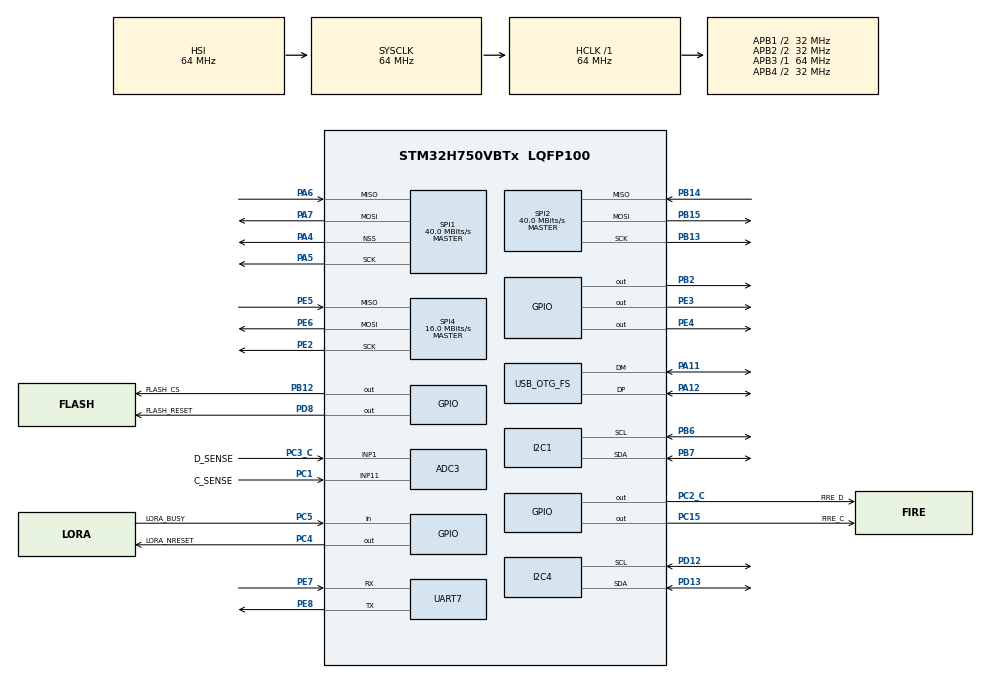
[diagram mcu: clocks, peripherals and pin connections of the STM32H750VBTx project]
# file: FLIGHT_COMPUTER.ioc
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ADC3.Channel-0\#ChannelRegularConversion=ADC_CHANNEL_1
ADC3.NbrOfConversionFlag=1
ADC3.OffsetNumber-0\#ChannelRegularConversion=ADC_OFFSET_NONE
ADC3.OffsetSignedSaturation-0\#ChannelRegularConversion=DISABLE
ADC3.Rank-0\#ChannelRegularConversion=1
ADC3.SamplingTime-0\#ChannelRegularConversion=ADC_SAMPLETIME_1CYCLE_5
CORTEX_M7.default_mode_Activation=1
I2C1.Timing=0x00707CBB
I2C4.Timing=0x00707CBB
Mcu.Family=STM32H7
Mcu.Name=STM32H750VBTx
Mcu.Package=LQFP100
NVIC.OTG_FS_IRQn=true\:0\:0\:false\:false\:true\:false\:true\:true
NVIC.PriorityGroup=NVIC_PRIORITYGROUP_4
PA11.Mode=Device_Only
PA11.Signal=USB_OTG_FS_DM
PA12.Mode=Device_Only
PA12.Signal=USB_OTG_FS_DP
PA13\ (JTMS/SWDIO).Mode=Trace_Asynchronous_SW
PA13\ (JTMS/SWDIO).Signal=DEBUG_JTMS-SWDIO
PA14\ (JTCK/SWCLK).Mode=Trace_Asynchronous_SW
PA14\ (JTCK/SWCLK).Signal=DEBUG_JTCK-SWCLK
PA4.Mode=NSS_Signal_Hard_Output
PA4.Signal=SPI1_NSS
PA5.Mode=Full_Duplex_Master
PA5.Signal=SPI1_SCK
PA6.Mode=Full_Duplex_Master
PA6.Signal=SPI1_MISO
PA7.Mode=Full_Duplex_Master
PA7.Signal=SPI1_MOSI
PB12.GPIO_Label=FLASH_CS
PB12.Signal=GPIO_Output
PB13.Mode=Full_Duplex_Master
PB13.Signal=SPI2_SCK
PB14.Mode=Full_Duplex_Master
PB14.Signal=SPI2_MISO
PB15.Mode=Full_Duplex_Master
PB15.Signal=SPI2_MOSI
PB2.Signal=GPIO_Output
PB3\ (JTDO/TRACESWO).Mode=Trace_Asynchronous_SW
PB3\ (JTDO/TRACESWO).Signal=DEBUG_JTDO-SWO
PB6.Mode=I2C
PB6.Signal=I2C1_SCL
PB7.Mode=I2C
PB7.Signal=I2C1_SDA
PC1.GPIO_Label=C_SENSE
PC1.Signal=ADCx_INP11
PC15-OSC32_OUT\ (OSC32_OUT).GPIO_Label=FIRE_C
PC15-OSC32_OUT\ (OSC32_OUT).Signal=GPIO_Output
PC2_C.GPIO_Label=FIRE_D
PC2_C.Signal=GPIO_Output
PC3_C.GPIO_Label=D_SENSE
PC3_C.Mode=IN1-Single-Ended
PC3_C.Signal=ADC3_INP1
PC4.GPIO_Label=LORA_NRESET
PC4.Signal=GPIO_Output
PC5.GPIO_Label=LORA_BUSY
PC5.Signal=GPIO_Input
PD12.Mode=I2C
PD12.Signal=I2C4_SCL
PD13.Mode=I2C
PD13.Signal=I2C4_SDA
PD8.GPIO_Label=FLASH_RESET
PD8.PinState=GPIO_PIN_SET
PD8.Signal=GPIO_Output
PE2.Mode=Full_Duplex_Master
PE2.Signal=SPI4_SCK
PE3.Signal=GPIO_Output
PE4.Signal=GPIO_Output
PE5.Mode=Full_Duplex_Master
PE5.Signal=SPI4_MISO
PE6.Mode=Full_Duplex_Master
PE6.Signal=SPI4_MOSI
PE7.Mode=Asynchronous
PE7.Signal=UART7_RX
PE8.Mode=Asynchronous
PE8.Signal=UART7_TX
ProjectManager.HeapSize=0x200
ProjectManager.StackSize=0x400
ProjectManager.TargetToolchain=STM32CubeIDE
RCC.ADCFreq_Value=80000000
RCC.APB1Freq_Value=32000000
RCC.APB2Freq_Value=32000000
RCC.APB3Freq_Value=64000000
RCC.APB4Freq_Value=32000000
RCC.CortexFreq_Value=64000000
RCC.D2PPRE1=RCC_APB1_DIV2
RCC.D2PPRE2=RCC_APB2_DIV2
RCC.D3PPRE=RCC_APB4_DIV2
RCC.DIVM1=4
RCC.DIVM2=4
RCC.DIVN1=10
RCC.DIVN2=10
RCC.HCLKFreq_Value=64000000
RCC.PLL2FRACN=0
RCC.PLLFRACN=0
RCC.SYSCLKFreq_VALUE=64000000
RCC.USBCLockSelection=RCC_USBCLKSOURCE_HSI48
RCC.USBFreq_Value=48000000
SH.ADCx_INP11.0=ADC3_INP11,IN11-Single-Ended
SPI1.CalculateBaudRate=40.0 MBits/s
SPI1.Direction=SPI_DIRECTION_2LINES
SPI1.Mode=SPI_MODE_MASTER
SPI1.VirtualNSS=VM_NSSHARD
SPI1.VirtualType=VM_MASTER
SPI2.CalculateBaudRate=40.0 MBits/s
SPI2.Direction=SPI_DIRECTION_2LINES
SPI2.Mode=SPI_MODE_MASTER
SPI2.VirtualType=VM_MASTER
SPI4.CalculateBaudRate=16.0 MBits/s
SPI4.Direction=SPI_DIRECTION_2LINES
SPI4.Mode=SPI_MODE_MASTER
SPI4.VirtualType=VM_MASTER
USB_DEVICE.CLASS_NAME_FS=CDC
USB_DEVICE.VirtualMode-CDC_FS=Cdc
USB_DEVICE.VirtualModeFS=Cdc_FS
USB_OTG_FS.VirtualMode=Device_Only
VP_MEMORYMAP_VS_MEMORYMAP.Mode=CurAppReg
VP_USB_DEVICE_VS_USB_DEVICE_CDC_FS.Mode=CDC_FS
board=custom

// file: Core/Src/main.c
/* USER CODE BEGIN Header */
/**
  ******************************************************************************
  * @file           : main.c
  * @brief          : Main program body
  ******************************************************************************
  * @attention
  *
  * Copyright (c) 2026 STMicroelectronics.
  * All rights reserved.
  *
  * This software is licensed under terms that can be found in the LICENSE file
  * in the root directory of this software component.
  * If no LICENSE file comes with this software, it is provided AS-IS.
  *
  ******************************************************************************
  */
/* USER CODE END Header */
#include "main.h"
#include "usb_device.h"

/* USER CODE BEGIN Includes */
#include <stdio.h>
#include <math.h>
#include "bmp585.h"
#include "sch16t.h"
#include "gnss_ublox.h"
#include "kalman_imu.h"
#include "s25fl512s.h"
#include "sx1262.h"
#include "pyro.h"
#include "bno055.h"
#include "adxl375.h"
#include "flash_log.h"
#include "flight.h"
#include <string.h>
#include "usbd_cdc_if.h"
/* USER CODE END Includes */

ADC_HandleTypeDef hadc3;

I2C_HandleTypeDef hi2c1;
I2C_HandleTypeDef hi2c4;

SPI_HandleTypeDef hspi1;
SPI_HandleTypeDef hspi2;
SPI_HandleTypeDef hspi4;

UART_HandleTypeDef huart7;

/* USER CODE BEGIN PV */
BMP585_t bmp585;
BMP585_Status bmp585_status;

/* Watch these in Live Expressions */
volatile float baro_temp_C    = 0.0f;
volatile float baro_press_Pa  = 0.0f;
volatile float baro_press_hPa = 0.0f;
volatile uint8_t baro_i2c_found_addr = 0;

/* SCH16T IMU on SPI4 — PE3=CS, PE4=RESET */
SCH16T_Handle  imu;
SCH16T_RawData imu_raw;
SCH16T_Result  imu_result = {0};
volatile int   imu_init_status = 1; /* 0 = SCH16T_OK */

/* Kalman-filtered attitude (degrees). Yaw is gyro-integrated only —
   no absolute reference on a 6-axis IMU, drifts slowly. */
KalmanAxis kf_roll_axis, kf_pitch_axis;
float att_roll  = 0.0f;
float att_pitch = 0.0f;
float att_yaw   = 0.0f;
float att_roll_acc  = 0.0f;  /* raw accel tilt angles, for comparing */
float att_pitch_acc = 0.0f;  /* against the filtered output          */

/* Gyro zero-rate bias (dps), measured at boot while stationary */
float gyro_bias[3] = {0.0f, 0.0f, 0.0f};

/* BNO055 9-axis on I2C4 — used for ABSOLUTE yaw only (roll/pitch stay on
   the K10). att_yaw_abs = magnetometer-backed fused heading, 0..360°. */
BNO055_t     bno;
volatile int bno_init_status = -1;   /* BNO055_Status; -1 = not run */
float        att_yaw_abs = 0.0f;     /* fused heading from BNO055    */

/* ADXL375 ±200g high-g accel on I2C1 (with baro) — boost/launch detect. */
ADXL375_t    hg;
volatile int hg_init_status = -1;    /* ADXL375_Status; -1 = not run */

/* S25FL512S 64MB NOR flash on SPI2 — PB12 = CS */
S25FL_t flash;
volatile int flash_init_status = -1; /* S25FL_Status; -1 = not run */
volatile int flash_test_status = -1;

/* SX1262 LoRa on SPI1 (HW NSS PA4) — PC4 = NRESET, PC5 = BUSY */
SX1262_t lora;
volatile int lora_init_status = -1;  /* SX1262_Status; -1 = not run */
volatile int lora_tx_status   = -1;
volatile uint32_t lora_tx_count = 0;
volatile uint32_t lora_cmd_count = 0;   /* valid uplink commands executed */
char lora_last_cmd[24] = "-";           /* last uplink command received  */
/* USER CODE END PV */

void SystemClock_Config(void);
static void MPU_Config(void);
static void MX_GPIO_Init(void);
static void MX_I2C1_Init(void);
static void MX_SPI4_Init(void);
static void MX_UART7_Init(void);
static void MX_SPI2_Init(void);
static void MX_SPI1_Init(void);
static void MX_ADC3_Init(void);
static void MX_I2C4_Init(void);

/* USER CODE BEGIN 0 */
/* Format a 1e-7-degree coordinate as "+51.458023" (6 decimals ≈ 11 cm) */
static void fmt_coord(char *out, size_t n, int32_t v)
{
    char sgn = (v < 0) ? '-' : '+';
    uint32_t a = (v < 0) ? (uint32_t)(-(int64_t)v) : (uint32_t)v;
    snprintf(out, n, "%c%lu.%06lu", sgn,
             (unsigned long)(a / 10000000u),
             (unsigned long)((a % 10000000u) / 10u));
}

/* ------------------------------------------------------------------ */
/* USB console: line-based commands typed into the CDC serial port.    */
/* Called from USB interrupt context — only buffers bytes here.        */
/* ------------------------------------------------------------------ */
static volatile char    con_line[32];
static volatile uint8_t con_ready = 0;

void Console_RxBytes(const uint8_t *data, uint32_t len)
{
    static uint8_t pos = 0;
    for (uint32_t i = 0; i < len; i++) {
        char c = (char)data[i];
        if (c == '\r' || c == '\n') {
            if (pos > 0 && !con_ready) {
                con_line[pos] = '\0';
                con_ready = 1;
            }
            pos = 0;
        } else if (pos < sizeof(con_line) - 1) {
            con_line[pos++] = c;
        }
    }
}

static void con_print(const char *s)
{
    CDC_Transmit_FS((uint8_t *)s, (uint16_t)strlen(s));
    HAL_Delay(2);
}

/* Scan I2C4 and print every 7-bit address that ACKs (diagnostic for the
   BNO055 bring-up). BNO055 should show at 0x28 (or 0x29 if ADR high). */
static void I2C4_Scan(void)
{
    extern I2C_HandleTypeDef hi2c4;
    char line[40];
    uint8_t found = 0;
    con_print("I2C4 scan:\r\n");
    for (uint8_t a = 1; a < 127; a++) {
        if (HAL_I2C_IsDeviceReady(&hi2c4, (uint16_t)(a << 1), 2, 10) == HAL_OK) {
            int n = snprintf(line, sizeof(line), "  ACK 0x%02X\r\n", a);
            CDC_Transmit_FS((uint8_t *)line, n);
            HAL_Delay(3);
            found++;
        }
    }
    if (!found) con_print("  (nothing responded)\r\n");
}

/* Execute a command string; returns the response line.
   Shared by the USB console and the LoRa uplink. */
static const char *exec_cmd(const char *cmd)
{
    if (strcmp(cmd, "arm") == 0) {
        Pyro_Arm();
        FlashLog_SetActive(1);   /* auto-log from arm through the whole
                                    flight (independent of the 60s arm
                                    timeout — logging keeps running) */
        return "PYRO: ARMED (60s) + LOG recording\r\n";
    }
    if (strcmp(cmd, "disarm") == 0) {
        Pyro_Disarm();
        return "PYRO: disarmed\r\n";
    }
    if (strcmp(cmd, "fire c") == 0)
        return Pyro_Fire(PYRO_CH_C, PYRO_FIRE_MS_DEFAULT)
             ? "PYRO: FIRING C\r\n" : "PYRO: refused (arm first)\r\n";
    if (strcmp(cmd, "fire d") == 0)
        return Pyro_Fire(PYRO_CH_D, PYRO_FIRE_MS_DEFAULT)
             ? "PYRO: FIRING D\r\n" : "PYRO: refused (arm first)\r\n";
    if (strcmp(cmd, "cw") == 0) {
        /* 8 s unmodulated carrier for RF path probing (blocking) */
        extern SX1262_t lora;
        extern volatile int lora_init_status;
        if (lora_init_status != 0) return "CW: radio not initialised\r\n";
        SX1262_TestCW(&lora, 8000);
        return "CW: done\r\n";
    }
    if (strcmp(cmd, "prep") == 0) {
        S25FL_Status st = FlashLog_Prep(0);
        return (st == S25FL_OK) ? "LOG: region erased, cursor reset\r\n"
                                : "LOG: erase failed\r\n";
    }
    if (strcmp(cmd, "logon") == 0)  { FlashLog_SetActive(1); return "LOG: recording ON\r\n"; }
    if (strcmp(cmd, "logoff") == 0) { FlashLog_SetActive(0); FlashLog_Flush(); return "LOG: recording OFF (flushed)\r\n"; }
    if (strcmp(cmd, "flighton") == 0) {
        extern volatile float baro_press_Pa;
        extern BMP585_Status bmp585_status;
        if (bmp585_status != BMP585_OK)
            return "FLIGHT: REFUSED — baro not OK (no apogee/main possible)\r\n";
        Flight_Enable(baro_press_Pa, false);   /* LIVE: pyro will fire */
        FlashLog_SetActive(1);
        return "FLIGHT: ARMED LIVE — auto-deploy WILL FIRE. drogue=C main=D. `flightoff` aborts.\r\n";
    }
    if (strcmp(cmd, "flighttest") == 0) {
        extern volatile float baro_press_Pa;
        Flight_Enable(baro_press_Pa, true);    /* DRY RUN: no pyro output */
        FlashLog_SetActive(1);
        return "FLIGHT: TEST MODE (dry run) — logic runs, pyro will NOT fire.\r\n";
    }
    if (strcmp(cmd, "flightoff") == 0) {
        Flight_Disable();
        FlashLog_SetActive(0); FlashLog_Flush();
        return "FLIGHT: aborted, pyros safe, log flushed\r\n";
    }
    if (strcmp(cmd, "help") == 0)
        return "cmds: arm|disarm|fire c|fire d|flighton|flighttest|flightoff|prep|dump|logstat|cw|scan|gs|fc|help\r\n";
    return "? (try: help)\r\n";
}

/* Runtime role: 0 = flight computer (beacons telemetry, fires pyro),
   1 = ground station (listens, relays telemetry to USB, uplinks cmds).
   Both boards run identical firmware; type "gs" / "fc" to switch. */
static volatile uint8_t g_ground_station = 0;

/* Process one pending console command (main-loop context) */
static void Console_Poll(void)
{
    if (!con_ready) return;
    char cmd[32];
    strncpy(cmd, (const char *)con_line, sizeof(cmd));
    cmd[sizeof(cmd) - 1] = '\0';
    con_ready = 0;

    /* Mode switches work in either role */
    if (strcmp(cmd, "gs") == 0) {
        g_ground_station = 1;
        extern SX1262_t lora;
        extern volatile int lora_init_status;
        if (lora_init_status == 0) SX1262_StartRx(&lora);
        con_print("MODE: GROUND STATION (listening; type cmds to uplink)\r\n");
        return;
    }
    if (strcmp(cmd, "fc") == 0) {
        g_ground_station = 0;
        con_print("MODE: flight computer\r\n");
        return;
    }
    if (strcmp(cmd, "scan") == 0) { I2C4_Scan(); return; }
    if (strcmp(cmd, "dump") == 0) { FlashLog_Dump(); return; }
    if (strcmp(cmd, "logstat") == 0) {
        char m[48];
        snprintf(m, sizeof(m), "LOG: %s, %lu bytes used\r\n",
                 FlashLog_IsActive() ? "ON" : "off",
                 (unsigned long)FlashLog_BytesUsed());
        con_print(m);
        return;
    }

    if (g_ground_station) {
        /* Relay the typed command to the flight FC as an uplink packet */
        extern SX1262_t lora;
        extern volatile int lora_init_status;
        if (lora_init_status != 0) { con_print("uplink: radio down\r\n"); return; }
        char pkt[40];
        int n = snprintf(pkt, sizeof(pkt), "HANSCMD %s", cmd);
        if (n > 0) SX1262_Transmit(&lora, (uint8_t *)pkt, (uint8_t)n, 500);
        SX1262_StartRx(&lora);   /* back to listening */
        char msg[48];
        snprintf(msg, sizeof(msg), ">> uplinked: %s\r\n", cmd);
        con_print(msg);
    } else {
        con_print(exec_cmd(cmd));   /* execute locally on the flight FC */
    }
}

/* Ground-station loop task: print any received downlink packet to USB
   in the same "[payload] RSSI= SNR=" format the Arduino bridge used, so
   the existing GUI parses it unchanged. */
static void GroundStation_Task(void)
{
    extern SX1262_t lora;
    extern volatile int lora_init_status;
    static uint32_t rx_count = 0;
    if (lora_init_status != 0) return;

    uint8_t rbuf[132];
    uint8_t rlen = sizeof(rbuf) - 1;
    if (SX1262_CheckRx(&lora, rbuf, &rlen) && rlen > 0) {
        rbuf[rlen] = '\0';
        rx_count++;
        char out[180];
        int n = snprintf(out, sizeof(out), "#%lu [%s] RSSI=%d SNR=%d\r\n",
                         (unsigned long)rx_count, (char *)rbuf,
                         (int)lora.rx_rssi_dbm, (int)lora.rx_snr_db);
        CDC_Transmit_FS((uint8_t *)out, n);
    }
}
/* USER CODE END 0 */

int main(void)
{

  /* MPU Configuration--------------------------------------------------------*/
  MPU_Config();

  /* MCU Configuration--------------------------------------------------------*/

  /* Reset of all peripherals, Initializes the Flash interface and the Systick. */
  HAL_Init();

  /* Configure the system clock */
  SystemClock_Config();

  /* Initialize all configured peripherals */
  MX_GPIO_Init();
  MX_I2C1_Init();
  MX_SPI4_Init();
  MX_USB_DEVICE_Init();
  MX_UART7_Init();
  MX_SPI2_Init();
  MX_SPI1_Init();
  MX_ADC3_Init();
  MX_I2C4_Init();
  /* USER CODE BEGIN 2 */

  HAL_Delay(3000); /* let USB enumerate on the PC before we start transmitting */

  /* --- SCH16T IMU bring-up ---
   * Change SCH16T_VARIANT_K01 to SCH16T_VARIANT_K10 if you have the K10.
   * Adjust filter / sensitivity / decimation values to suit your application.
   */
  imu.hspi        = &hspi4;
  imu.cs_port     = GPIOE;
  imu.cs_pin      = GPIO_PIN_3;
  imu.reset_port  = GPIOE;
  imu.reset_pin   = GPIO_PIN_4;
  imu.ta9_8       = 0;               /* default — no TA solder jumpers set */
  imu.variant     = SCH16T_VARIANT_K10;

  SCH16T_Filter      imu_filter = { .Rate12 = 68,  .Acc12 = 68,  .Acc3 = 68 };
  /* K10 valid rate sensitivities: 100 / 200 / 400 LSB/dps  */
  SCH16T_Sensitivity imu_sens   = { .Rate1 = 200, .Rate2 = 200,
                                    .Acc1  = 6400, .Acc2  = 6400, .Acc3 = 6400 };
  SCH16T_Decimation  imu_dec    = { .Rate2 = 8, .Acc2 = 8 };

  imu_init_status = SCH16T_Begin(&imu, imu_filter, imu_sens, imu_dec, false);

  /* Gyro bias calibration: average 100 samples (~2 s) while stationary.
     KEEP THE BOARD STILL from power-on until the plotter starts.
     Dominates yaw drift — the yaw axis has no absolute reference to
     correct against, so any uncompensated bias integrates forever. */
  if (imu_init_status == SCH16T_OK) {
    float sum[3] = {0};
    int   good = 0;
    for (int i = 0; i < 100; i++) {
      SCH16T_GetData(&imu, &imu_raw);
      if (!imu_raw.frame_error) {
        SCH16T_ConvertData(&imu, &imu_raw, &imu_result);
        sum[0] += imu_result.Rate1[0];
        sum[1] += imu_result.Rate1[1];
        sum[2] += imu_result.Rate1[2];
        good++;
      }
      HAL_Delay(20);
    }
    if (good > 50) {
      gyro_bias[0] = sum[0] / (float)good;
      gyro_bias[1] = sum[1] / (float)good;
      gyro_bias[2] = sum[2] / (float)good;
    }
  }

  /* --- BMP585 bring-up ---
   * Step 1: Scan I2C to confirm a device is present (checks wiring).
   * Step 2: Init with default address (SDO=GND → 0x46<<1).
   *         If init returns BMP585_WRONG_ID, try BMP585_I2C_ADDR_SDO_VDD.
   */
  BMP585_ScanI2C(&hi2c1, &baro_i2c_found_addr);  /* breakpoint here, check baro_i2c_found_addr */

  bmp585_status = BMP585_Init(&bmp585, &hi2c1, BMP585_I2C_ADDR_SDO_GND);
  /* bmp585_status should be BMP585_OK (0) — if BMP585_WRONG_ID, flip SDO address above */

  /* --- U-BLOX M10S GNSS bring-up ---
   * PB2 = RESET_N (active-low).  GPIO init left it LOW (module held in reset).
   * GNSS_UBX_Init releases it, enables UART7 IRQ, and starts receive.
   * Driver switches module 9600→115200 then parses UBX NAV-PVT at 10 Hz.
   */
  GNSS_UBX_Init(&huart7, GPIOB, GPIO_PIN_2);

  /* Attitude Kalman filters — start level; they converge within ~1 s */
  KalmanAxis_Init(&kf_roll_axis, 0.0f);
  KalmanAxis_Init(&kf_pitch_axis, 0.0f);
  uint32_t att_last_tick = HAL_GetTick();

  /* --- S25FL512S flash bring-up ---
   * PD8 = RESET# (active-low): GPIO init leaves it LOW (chip in reset),
   * release it before talking. tRPH ≈ 35 µs — 1 ms is plenty.
   * Init verifies JEDEC ID (expect 01 02 20).
   * Self-test erases/writes/verifies the LAST 256KB sector —
   * remove once real log data lives on the chip. */
  HAL_GPIO_WritePin(FLASH_RESET_GPIO_Port, FLASH_RESET_Pin, GPIO_PIN_SET);
  HAL_Delay(1);
  flash_init_status = S25FL_Init(&flash, &hspi2, GPIOB, GPIO_PIN_12);
  if (flash_init_status == S25FL_OK)
      flash_test_status = S25FL_SelfTest(&flash);

  /* Telemetry logger — scans flash for resume cursor. Use console:
     prep (erase on pad) / logon / logoff / dump / logstat */
  if (flash_init_status == S25FL_OK)
      FlashLog_Init(&flash);

  /* --- SX1262 LoRa bring-up ---
   * Set LORA_ENABLED to 0 to keep the radio in reset — do this whenever
   * no antenna is fitted (transmitting into an open connector reflects
   * the full PA output back into the chip and can damage it). */
#define LORA_ENABLED 1
#if LORA_ENABLED
  lora_init_status = SX1262_Init(&lora, &hspi1,
                                 GPIOA, GPIO_PIN_4,   /* CS (soft)   */
                                 LORA_NRESET_GPIO_Port, LORA_NRESET_Pin,
                                 GPIOC, GPIO_PIN_5);  /* BUSY        */
#endif

  /* --- Pyro channels (recovery) ---
   * FETs held off; firing requires "arm" then "fire c"/"fire d" over
   * the USB serial console. Continuity sensed via ADC3 at ~5 Hz. */
  Pyro_Init(&hadc3);

  /* --- BNO055 9-axis (I2C4) — absolute yaw source ---
   * Roll/pitch stay on the K10; only the fused heading is used, for yaw.
   * ext_crystal=0 (bare module). If it has a 32 kHz crystal, pass 1.
   * NOTE: hi2c4 must be <= 100 kHz (BNO055 clock-stretches). */
  bno_init_status = BNO055_Init(&bno, &hi2c4, BNO055_ADDR_LOW, 0);

  /* --- ADXL375 ±200g high-g accel (I2C1, shares bus with baro) ---
   * For launch/boost detection. ALT ADDRESS low → 0x53; if it doesn't
   * respond, run `scan` on I2C1 or try ADXL375_ADDR_HIGH. */
  hg_init_status = ADXL375_Init(&hg, &hi2c1, ADXL375_ADDR_LOW);

  /* USER CODE END 2 */

  /* Infinite loop */
  while (1)
  {

    /* USER CODE BEGIN 3 */

    /* Ground-station role: listen + relay only, skip all flight tasks */
    if (g_ground_station) {
      GroundStation_Task();
      Console_Poll();
      HAL_Delay(5);   /* fast RX polling */
      continue;
    }

    if (imu_init_status == SCH16T_OK) {
      SCH16T_GetData(&imu, &imu_raw);
      if (!imu_raw.frame_error) {
        SCH16T_ConvertData(&imu, &imu_raw, &imu_result);

        /* Measured timestep — loop is nominally 20 ms but CDC/GNSS work
           makes it jitter; the filter integrates correctly either way */
        uint32_t now_tick = HAL_GetTick();
        float dt = (float)(now_tick - att_last_tick) * 0.001f;
        att_last_tick = now_tick;
        if (dt <= 0.0f || dt > 0.2f) dt = 0.02f; /* guard first pass/stalls */

        /* Tilt angles from accelerometer (absolute reference, noisy) */
        float ax = imu_result.Acc1[0];
        float ay = imu_result.Acc1[1];
        float az = imu_result.Acc1[2];
        float roll_acc  =  atan2f(ay, az)                    * 57.2957795f;
        float pitch_acc =  atan2f(-ax, sqrtf(ay*ay + az*az)) * 57.2957795f;
        att_roll_acc  = roll_acc;   /* exposed for filter diagnosis */
        att_pitch_acc = pitch_acc;

        /* Kalman: gyro prediction + accel correction, with online gyro
           bias estimation (replaces the complementary filter) */
        att_roll  = KalmanAxis_Update(&kf_roll_axis,  roll_acc,
                                      imu_result.Rate1[0] - gyro_bias[0], dt);
        att_pitch = KalmanAxis_Update(&kf_pitch_axis, pitch_acc,
                                      imu_result.Rate1[1] - gyro_bias[1], dt);

        /* Yaw (relative): bias-corrected gyro integration — kept as a
           fast, drift-prone backup / cross-check for the BNO heading */
        att_yaw += (imu_result.Rate1[2] - gyro_bias[2]) * dt;
        if (att_yaw >  180.0f) att_yaw -= 360.0f;
        if (att_yaw < -180.0f) att_yaw += 360.0f;
      }
    }

    /* Absolute yaw from the BNO055 fused heading (magnetometer-backed).
       Only trustworthy once bno.cal_mag == 3 (do figure-8s at startup). */
    if (bno_init_status == BNO055_OK) {
      if (BNO055_ReadEuler(&bno) == BNO055_OK)
        att_yaw_abs = bno.heading;
    }

    /* High-g accelerometer — reads |a| for launch/boost detection */
    if (hg_init_status == ADXL375_OK)
      ADXL375_Read(&hg);

    /* Flight state machine: launch detect → velocity-gated mach inhibit →
       apogee (drogue) → 300 m (main) → landed. Fires pyro C/D.
       Active only after `flighton`. */
    Flight_Update(baro_press_Pa, hg.g, HAL_GetTick());

    /* Telemetry logging: append one record per loop while active (~50 Hz).
       In-flight writes are page-programs only — the log region is
       pre-erased on the pad via `prep`, never erased here. */
    if (FlashLog_IsActive()) {
      FlashLogRecord r = {0};
      r.t_ms       = HAL_GetTick();
      r.roll_x10   = (int16_t)(att_roll     * 10.0f);
      r.pitch_x10  = (int16_t)(att_pitch    * 10.0f);
      r.yaw_x10    = (int16_t)(att_yaw_abs  * 10.0f);
      r.hg_x_x10   = (int16_t)(hg.g[0]      * 10.0f);
      r.hg_y_x10   = (int16_t)(hg.g[1]      * 10.0f);
      r.hg_z_x10   = (int16_t)(hg.g[2]      * 10.0f);
      r.hg_mag_x10 = (int16_t)(hg.mag_g     * 10.0f);
      r.baro_pa    = (int32_t)baro_press_Pa;
      r.baro_alt_cm= (int32_t)(flight.agl_m * 100.0f);   /* AGL, cm */
      r.gps_lat    = gnss_ubx.lat;
      r.gps_lng    = gnss_ubx.lng;
      r.gps_alt_m  = (int16_t)(gnss_ubx.alt_mm / 1000);
      r.sats       = gnss_ubx.num_sats;
      r.fix        = gnss_ubx.status;
      r.state      = (uint8_t)flight.state;
      r.flags      = (uint8_t)((pyro.armed ? 1 : 0) |
                               (flight.drogue_fired ? 2 : 0) |
                               (flight.main_fired   ? 4 : 0));
      FlashLog_Write(&r);
    }

    /* Drive the UBX GNSS state machine (baud switch → configure → parse) */
    GNSS_UBX_Update();

    /* Pyro: end expired fire pulses, expire arming, refresh continuity;
       then handle any console command (arm / fire / disarm) */
    Pyro_Update();
    Console_Poll();

    /* LoRa uplink: radio sits in continuous RX between beacons.
       Commands are "HANSCMD <cmd>" — prefix guards against foreign
       LoRa traffic; <cmd> goes through the same handler as the USB
       console, so all pyro safety interlocks apply identically. */
    if (lora_init_status == 0) {
        uint8_t rbuf[64];
        uint8_t rlen = sizeof(rbuf) - 1;
        if (SX1262_CheckRx(&lora, rbuf, &rlen) && rlen > 8 &&
            memcmp(rbuf, "HANSCMD ", 8) == 0) {
            rbuf[rlen] = '\0';
            const char *cmd = (const char *)&rbuf[8];
            strncpy(lora_last_cmd, cmd, sizeof(lora_last_cmd) - 1);
            lora_last_cmd[sizeof(lora_last_cmd) - 1] = '\0';
            lora_cmd_count++;
            con_print(exec_cmd(cmd));  /* echo result to USB too */
        }
    }

    /* Read barometer (25 Hz ODR, loop at 50 Hz — reads latest sample) */
    if (bmp585_status == BMP585_OK) {
      if (BMP585_ReadData(&bmp585) == BMP585_OK) {
        baro_temp_C    = bmp585.temperature;
        baro_press_Pa  = bmp585.pressure;
        baro_press_hPa = bmp585.pressure / 100.0f;
      }
    }

    /* Serial Port Plotter, all in degrees — filtered vs raw diagnosis:
       ch1 roll  (K10 Kalman)      ch2 roll  (raw accel)
       ch3 pitch (K10 Kalman)      ch4 pitch (raw accel)
       ch5 yaw   (BNO055 fused heading) */
    char tx[80];
    int  tx_len = snprintf(tx, sizeof(tx), "$%ld %ld %ld %ld %ld;\n",
        (long)att_roll,  (long)att_roll_acc,
        (long)att_pitch, (long)att_pitch_acc,
        (long)att_yaw_abs);
    CDC_Transmit_FS((uint8_t *)tx, tx_len);

    /* Print GNSS status once per second (~50 × 20 ms) via CDC text.
       lat/lng are in 1e-7 degrees; alt is in mm. */
    static uint32_t gnss_ctr = 0;
    if (++gnss_ctr >= 50) {
        gnss_ctr = 0;
        extern volatile uint32_t uart7_irq_count;
        char gps[120];
        int  gps_len = snprintf(gps, sizeof(gps),
            "GPS st=%d sats=%d lat=%ld lng=%ld alt=%ldm irq=%lu rx=%lu err=%lu\r\n",
            gnss_ubx.status, gnss_ubx.num_sats,
            (long)gnss_ubx.lat, (long)gnss_ubx.lng,
            (long)(gnss_ubx.alt_mm / 1000),
            (unsigned long)uart7_irq_count,
            (unsigned long)gnss_ubx_rx_count,
            (unsigned long)gnss_uart_err_count);
        CDC_Transmit_FS((uint8_t *)gps, gps_len);

        /* Barometer status — integers to avoid printf-float dependency.
           T in centi-°C (2345 = 23.45 °C), P in Pa (101325 ≈ sea level).
           regs: STATUS(0x28) OSR_CONFIG(0x36) ODR_CONFIG(0x37) OSR_EFF(0x38)
           raw: 6 data bytes T[xlsb lsb msb] P[xlsb lsb msb] */
        HAL_Delay(2); /* let previous CDC packet drain */
        uint8_t rg[5] = {0}, rw[6] = {0};
        HAL_I2C_Mem_Read(&hi2c1, baro_i2c_found_addr, BMP585_REG_STATUS,
                         I2C_MEMADD_SIZE_8BIT, &rg[0], 1, 50);
        HAL_I2C_Mem_Read(&hi2c1, baro_i2c_found_addr, BMP585_REG_DSP_CONFIG,
                         I2C_MEMADD_SIZE_8BIT, &rg[4], 1, 50);
        HAL_I2C_Mem_Read(&hi2c1, baro_i2c_found_addr, BMP585_REG_OSR_CONFIG,
                         I2C_MEMADD_SIZE_8BIT, &rg[1], 3, 50); /* 0x36..0x38 */
        HAL_I2C_Mem_Read(&hi2c1, baro_i2c_found_addr, BMP585_REG_TEMP_XLSB,
                         I2C_MEMADD_SIZE_8BIT, rw, 6, 50);
        char baro[120];
        int  baro_len = snprintf(baro, sizeof(baro),
            "BARO st=%d id=%02X bs=%02X T=%ld P=%ld sr=%02X dsp=%02X osr=%02X odr=%02X eff=%02X raw=%02X%02X%02X %02X%02X%02X\r\n",
            (int)bmp585_status, bmp585.chip_id, bmp585.boot_status,
            (long)(baro_temp_C * 100.0f), (long)baro_press_Pa,
            rg[0], rg[4], rg[1], rg[2], rg[3],
            rw[2], rw[1], rw[0], rw[5], rw[4], rw[3]);
        CDC_Transmit_FS((uint8_t *)baro, baro_len);

        /* BNO055 status: init 0=OK 2=WRONG_ID. hdg = fused yaw (deg).
           cal S/G/A/M each 0..3 — heading is only trustworthy at M=3
           (wave the board in slow figure-8s at startup to raise it). */
        HAL_Delay(2);
        if (bno_init_status == BNO055_OK) BNO055_ReadCalib(&bno);
        char bn[72];
        int  bn_len = snprintf(bn, sizeof(bn),
            "BNO init=%d hdg=%ld calSGAM=%u%u%u%u\r\n",
            bno_init_status, (long)att_yaw_abs,
            bno.cal_sys, bno.cal_gyro, bno.cal_acc, bno.cal_mag);
        CDC_Transmit_FS((uint8_t *)bn, bn_len);

        /* High-g accel: id=E5 when present. x/y/z and |a| in milli-g
           (1000 = 1 g at rest on one axis, mag ≈ 1000 stationary). */
        HAL_Delay(2);
        char hgs[80];
        int  hgs_len = snprintf(hgs, sizeof(hgs),
            "HG init=%d id=%02X x=%ld y=%ld z=%ld magG=%ld\r\n",
            hg_init_status, hg.dev_id,
            (long)(hg.g[0]*1000.0f), (long)(hg.g[1]*1000.0f),
            (long)(hg.g[2]*1000.0f), (long)(hg.mag_g*1000.0f));
        CDC_Transmit_FS((uint8_t *)hgs, hgs_len);

        /* Flight state machine: state 0=idle 1=pad 2=boost 3=coast
           4=drogue 5=main 6=landed. agl in m, apogee = peak agl. */
        HAL_Delay(2);
        char fl[110];
        int  fl_len = snprintf(fl, sizeof(fl),
            "FLIGHT st=%d %s agl=%ldm vel=%ldm/s apogee=%ldm drogue=%d main=%d\r\n",
            (int)flight.state,
            !Flight_IsActive() ? "off" : (flight.dry_run ? "TEST" : "LIVE"),
            (long)flight.agl_m, (long)flight.velocity,
            (long)flight.max_agl_m, flight.drogue_fired, flight.main_fired);
        CDC_Transmit_FS((uint8_t *)fl, fl_len);

        /* Flash status: init 0=OK 2=WRONG_ID, test 0=OK 6=VERIFY_ERR */
        HAL_Delay(2);
        char fls[64];
        int  fls_len = snprintf(fls, sizeof(fls),
            "FLASH init=%d test=%d step=%d sr1=%02X id=%02X %02X %02X\r\n",
            flash_init_status, flash_test_status, s25fl_test_step,
            (flash_init_status == 0) ? S25FL_ReadStatus1(&flash) : 0xEE,
            flash.jedec[0], flash.jedec[1], flash.jedec[2]);
        CDC_Transmit_FS((uint8_t *)fls, fls_len);

        /* LoRa: 1 Hz telemetry beacon (blocking ~35 ms at SF7).
           Pair any 868 MHz LoRa receiver: SF7 BW125 CR4/5, sync 0x1424,
           preamble 12, explicit header, CRC on. */
        if (lora_init_status == SX1262_OK) {
            /* HANSFC,<n>,<state>,<agl_m>,<vel_ms>,<apogee_m>,<lat>,<lng>,
                      <gps_alt_m>,<sats>,<fix>,<roll>,<pitch>,<yaw>,
                      A<armed>,<contC>,<contD> */
            char lat_s[16], lng_s[16];
            fmt_coord(lat_s, sizeof(lat_s), gnss_ubx.lat);
            fmt_coord(lng_s, sizeof(lng_s), gnss_ubx.lng);
            char pkt[128];
            int  pkt_len = snprintf(pkt, sizeof(pkt),
                "HANSFC,%lu,%d,%ld,%ld,%ld,%s,%s,%ld,%u,%u,%ld,%ld,%ld,A%d,%u,%u",
                (unsigned long)lora_tx_count,
                (int)flight.state,
                (long)flight.agl_m, (long)flight.velocity, (long)flight.max_agl_m,
                lat_s, lng_s,
                (long)(gnss_ubx.alt_mm / 1000),
                gnss_ubx.num_sats, gnss_ubx.status,
                (long)att_roll, (long)att_pitch, (long)att_yaw_abs,
                pyro.armed ? 1 : 0,
                pyro.cont_mv[PYRO_CH_C], pyro.cont_mv[PYRO_CH_D]);
            if (pkt_len > SX1262_MAX_PAYLOAD) pkt_len = SX1262_MAX_PAYLOAD;
            lora_tx_status = SX1262_Transmit(&lora, (uint8_t *)pkt,
                                             (uint8_t)pkt_len, 500);
            if (lora_tx_status == SX1262_OK) {
                lora_tx_count++;
                SX1262_StartRx(&lora);  /* open the command window */
            } else {
                /* A brownout mid-TX resets the SX1262 (config lost, BUSY
                   stuck). After 3 consecutive failures, re-init fully. */
                static uint8_t lora_fails = 0;
                if (++lora_fails >= 3) {
                    lora_fails = 0;
                    lora_init_status = SX1262_Init(&lora, &hspi1,
                        GPIOA, GPIO_PIN_4,
                        LORA_NRESET_GPIO_Port, LORA_NRESET_Pin,
                        GPIOC, GPIO_PIN_5);
                }
            }
        } else if (lora_init_status > 0) {
            /* init previously failed — keep retrying once per second */
            lora_init_status = SX1262_Init(&lora, &hspi1,
                GPIOA, GPIO_PIN_4,
                LORA_NRESET_GPIO_Port, LORA_NRESET_Pin,
                GPIOC, GPIO_PIN_5);
        }

        /* Pyro status: armed flag, continuity mV per channel (ematch
           present ≈ VBAT×27/227 ≈ 1000 mV on 2S; open ≈ 0), fire counts */
        HAL_Delay(2);
        char pyr[80];
        int  pyr_len = snprintf(pyr, sizeof(pyr),
            "PYRO armed=%d contC=%umV contD=%umV fired=%lu/%lu\r\n",
            pyro.armed ? 1 : 0,
            pyro.cont_mv[PYRO_CH_C], pyro.cont_mv[PYRO_CH_D],
            (unsigned long)pyro.fired_count[PYRO_CH_C],
            (unsigned long)pyro.fired_count[PYRO_CH_D]);
        CDC_Transmit_FS((uint8_t *)pyr, pyr_len);

        HAL_Delay(2);
        if (lora_init_status >= 0) { /* skip entirely while disabled */
            uint16_t lora_errs = 0xFFFF;
            if (lora_init_status == 0) {
                SX1262_GetStatus(&lora);
                SX1262_GetErrors(&lora, &lora_errs);
            }
            char lr[128];
            int  lr_len = snprintf(lr, sizeof(lr),
                "LORA init=%d st=0x%02X sync=%02X tx=%d stage=%d err=0x%04X n=%lu cmd=%lu[%s] uprssi=%d upsnr=%d\r\n",
                lora_init_status, lora.chip_status, lora.sync_msb,
                lora_tx_status, sx1262_tx_stage, lora_errs,
                (unsigned long)lora_tx_count,
                (unsigned long)lora_cmd_count, lora_last_cmd,
                (int)lora.rx_rssi_dbm, (int)lora.rx_snr_db);
            CDC_Transmit_FS((uint8_t *)lr, lr_len);
        }
    }

    HAL_Delay(20);
  }
  /* USER CODE END 3 */
}

void SystemClock_Config(void)
{
  RCC_OscInitTypeDef RCC_OscInitStruct = {0};
  RCC_ClkInitTypeDef RCC_ClkInitStruct = {0};

  /** Supply configuration update enable
  */
  HAL_PWREx_ConfigSupply(PWR_LDO_SUPPLY);

  /** Configure the main internal regulator output voltage
  */
  __HAL_PWR_VOLTAGESCALING_CONFIG(PWR_REGULATOR_VOLTAGE_SCALE3);

  while(!__HAL_PWR_GET_FLAG(PWR_FLAG_VOSRDY)) {}

  /** Initializes the RCC Oscillators according to the specified parameters
  * in the RCC_OscInitTypeDef structure.
  */
  RCC_OscInitStruct.OscillatorType = RCC_OSCILLATORTYPE_HSI48|RCC_OSCILLATORTYPE_HSI;
  RCC_OscInitStruct.HSIState = RCC_HSI_DIV1;
  RCC_OscInitStruct.HSICalibrationValue = RCC_HSICALIBRATION_DEFAULT;
  RCC_OscInitStruct.HSI48State = RCC_HSI48_ON;
  RCC_OscInitStruct.PLL.PLLState = RCC_PLL_ON;
  RCC_OscInitStruct.PLL.PLLSource = RCC_PLLSOURCE_HSI;
  RCC_OscInitStruct.PLL.PLLM = 4;
  RCC_OscInitStruct.PLL.PLLN = 10;
  RCC_OscInitStruct.PLL.PLLP = 2;
  RCC_OscInitStruct.PLL.PLLQ = 2;
  RCC_OscInitStruct.PLL.PLLR = 2;
  RCC_OscInitStruct.PLL.PLLRGE = RCC_PLL1VCIRANGE_3;
  RCC_OscInitStruct.PLL.PLLVCOSEL = RCC_PLL1VCOMEDIUM;
  RCC_OscInitStruct.PLL.PLLFRACN = 0;
  if (HAL_RCC_OscConfig(&RCC_OscInitStruct) != HAL_OK)
  {
    Error_Handler();
  }

  /** Initializes the CPU, AHB and APB buses clocks
  */
  RCC_ClkInitStruct.ClockType = RCC_CLOCKTYPE_HCLK|RCC_CLOCKTYPE_SYSCLK
                              |RCC_CLOCKTYPE_PCLK1|RCC_CLOCKTYPE_PCLK2
                              |RCC_CLOCKTYPE_D3PCLK1|RCC_CLOCKTYPE_D1PCLK1;
  RCC_ClkInitStruct.SYSCLKSource = RCC_SYSCLKSOURCE_HSI;
  RCC_ClkInitStruct.SYSCLKDivider = RCC_SYSCLK_DIV1;
  RCC_ClkInitStruct.AHBCLKDivider = RCC_HCLK_DIV1;
  RCC_ClkInitStruct.APB3CLKDivider = RCC_APB3_DIV1;
  RCC_ClkInitStruct.APB1CLKDivider = RCC_APB1_DIV2;
  RCC_ClkInitStruct.APB2CLKDivider = RCC_APB2_DIV2;
  RCC_ClkInitStruct.APB4CLKDivider = RCC_APB4_DIV2;

  if (HAL_RCC_ClockConfig(&RCC_ClkInitStruct, FLASH_LATENCY_1) != HAL_OK)
  {
    Error_Handler();
  }
}

static void MX_ADC3_Init(void)
{

  ADC_ChannelConfTypeDef sConfig = {0};

  /** Common config
  */
  hadc3.Instance = ADC3;
  hadc3.Init.ClockPrescaler = ADC_CLOCK_ASYNC_DIV1;
  hadc3.Init.ScanConvMode = ADC_SCAN_DISABLE;
  hadc3.Init.EOCSelection = ADC_EOC_SINGLE_CONV;
  hadc3.Init.LowPowerAutoWait = DISABLE;
  hadc3.Init.ContinuousConvMode = DISABLE;
  hadc3.Init.NbrOfConversion = 1;
  hadc3.Init.DiscontinuousConvMode = DISABLE;
  hadc3.Init.ExternalTrigConv = ADC_SOFTWARE_START;
  hadc3.Init.ExternalTrigConvEdge = ADC_EXTERNALTRIGCONVEDGE_NONE;
  hadc3.Init.ConversionDataManagement = ADC_CONVERSIONDATA_DR;
  hadc3.Init.Overrun = ADC_OVR_DATA_PRESERVED;
  hadc3.Init.LeftBitShift = ADC_LEFTBITSHIFT_NONE;
  hadc3.Init.OversamplingMode = DISABLE;
  hadc3.Init.Oversampling.Ratio = 1;
  if (HAL_ADC_Init(&hadc3) != HAL_OK)
  {
    Error_Handler();
  }
  hadc3.Init.Resolution = ADC_RESOLUTION_16B;
  if (HAL_ADC_Init(&hadc3) != HAL_OK)
  {
    Error_Handler();
  }

  /** Configure Regular Channel
  */
  sConfig.Channel = ADC_CHANNEL_1;
  sConfig.Rank = ADC_REGULAR_RANK_1;
  sConfig.SamplingTime = ADC_SAMPLETIME_1CYCLE_5;
  sConfig.SingleDiff = ADC_SINGLE_ENDED;
  sConfig.OffsetNumber = ADC_OFFSET_NONE;
  sConfig.Offset = 0;
  sConfig.OffsetSignedSaturation = DISABLE;
  if (HAL_ADC_ConfigChannel(&hadc3, &sConfig) != HAL_OK)
  {
    Error_Handler();
  }

}

static void MX_I2C1_Init(void)
{

  hi2c1.Instance = I2C1;
  hi2c1.Init.Timing = 0x00707CBB;
  hi2c1.Init.OwnAddress1 = 0;
  hi2c1.Init.AddressingMode = I2C_ADDRESSINGMODE_7BIT;
  hi2c1.Init.DualAddressMode = I2C_DUALADDRESS_DISABLE;
  hi2c1.Init.OwnAddress2 = 0;
  hi2c1.Init.OwnAddress2Masks = I2C_OA2_NOMASK;
  hi2c1.Init.GeneralCallMode = I2C_GENERALCALL_DISABLE;
  hi2c1.Init.NoStretchMode = I2C_NOSTRETCH_DISABLE;
  if (HAL_I2C_Init(&hi2c1) != HAL_OK)
  {
    Error_Handler();
  }

  /** Configure Analogue filter
  */
  if (HAL_I2CEx_ConfigAnalogFilter(&hi2c1, I2C_ANALOGFILTER_ENABLE) != HAL_OK)
  {
    Error_Handler();
  }

  /** Configure Digital filter
  */
  if (HAL_I2CEx_ConfigDigitalFilter(&hi2c1, 0) != HAL_OK)
  {
    Error_Handler();
  }

}

static void MX_I2C4_Init(void)
{

  hi2c4.Instance = I2C4;
  hi2c4.Init.Timing = 0x00707CBB;
  hi2c4.Init.OwnAddress1 = 0;
  hi2c4.Init.AddressingMode = I2C_ADDRESSINGMODE_7BIT;
  hi2c4.Init.DualAddressMode = I2C_DUALADDRESS_DISABLE;
  hi2c4.Init.OwnAddress2 = 0;
  hi2c4.Init.OwnAddress2Masks = I2C_OA2_NOMASK;
  hi2c4.Init.GeneralCallMode = I2C_GENERALCALL_DISABLE;
  hi2c4.Init.NoStretchMode = I2C_NOSTRETCH_DISABLE;
  if (HAL_I2C_Init(&hi2c4) != HAL_OK)
  {
    Error_Handler();
  }

  /** Configure Analogue filter
  */
  if (HAL_I2CEx_ConfigAnalogFilter(&hi2c4, I2C_ANALOGFILTER_ENABLE) != HAL_OK)
  {
    Error_Handler();
  }

  /** Configure Digital filter
  */
  if (HAL_I2CEx_ConfigDigitalFilter(&hi2c4, 0) != HAL_OK)
  {
    Error_Handler();
  }

}

static void MX_SPI1_Init(void)
{

  /* SPI1 parameter configuration*/
  hspi1.Instance = SPI1;
  hspi1.Init.Mode = SPI_MODE_MASTER;
  hspi1.Init.Direction = SPI_DIRECTION_2LINES;
  hspi1.Init.DataSize = SPI_DATASIZE_4BIT;
  hspi1.Init.CLKPolarity = SPI_POLARITY_LOW;
  hspi1.Init.CLKPhase = SPI_PHASE_1EDGE;
  hspi1.Init.NSS = SPI_NSS_HARD_OUTPUT;
  hspi1.Init.BaudRatePrescaler = SPI_BAUDRATEPRESCALER_2;
  hspi1.Init.FirstBit = SPI_FIRSTBIT_MSB;
  hspi1.Init.TIMode = SPI_TIMODE_DISABLE;
  hspi1.Init.CRCCalculation = SPI_CRCCALCULATION_DISABLE;
  hspi1.Init.CRCPolynomial = 0x0;
  hspi1.Init.NSSPMode = SPI_NSS_PULSE_ENABLE;
  hspi1.Init.NSSPolarity = SPI_NSS_POLARITY_LOW;
  hspi1.Init.FifoThreshold = SPI_FIFO_THRESHOLD_01DATA;
  hspi1.Init.TxCRCInitializationPattern = SPI_CRC_INITIALIZATION_ALL_ZERO_PATTERN;
  hspi1.Init.RxCRCInitializationPattern = SPI_CRC_INITIALIZATION_ALL_ZERO_PATTERN;
  hspi1.Init.MasterSSIdleness = SPI_MASTER_SS_IDLENESS_00CYCLE;
  hspi1.Init.MasterInterDataIdleness = SPI_MASTER_INTERDATA_IDLENESS_00CYCLE;
  hspi1.Init.MasterReceiverAutoSusp = SPI_MASTER_RX_AUTOSUSP_DISABLE;
  hspi1.Init.MasterKeepIOState = SPI_MASTER_KEEP_IO_STATE_DISABLE;
  hspi1.Init.IOSwap = SPI_IO_SWAP_DISABLE;
  if (HAL_SPI_Init(&hspi1) != HAL_OK)
  {
    Error_Handler();
  }

}

static void MX_SPI2_Init(void)
{

  /* SPI2 parameter configuration*/
  hspi2.Instance = SPI2;
  hspi2.Init.Mode = SPI_MODE_MASTER;
  hspi2.Init.Direction = SPI_DIRECTION_2LINES;
  hspi2.Init.DataSize = SPI_DATASIZE_4BIT;
  hspi2.Init.CLKPolarity = SPI_POLARITY_LOW;
  hspi2.Init.CLKPhase = SPI_PHASE_1EDGE;
  hspi2.Init.NSS = SPI_NSS_SOFT;
  hspi2.Init.BaudRatePrescaler = SPI_BAUDRATEPRESCALER_2;
  hspi2.Init.FirstBit = SPI_FIRSTBIT_MSB;
  hspi2.Init.TIMode = SPI_TIMODE_DISABLE;
  hspi2.Init.CRCCalculation = SPI_CRCCALCULATION_DISABLE;
  hspi2.Init.CRCPolynomial = 0x0;
  hspi2.Init.NSSPMode = SPI_NSS_PULSE_ENABLE;
  hspi2.Init.NSSPolarity = SPI_NSS_POLARITY_LOW;
  hspi2.Init.FifoThreshold = SPI_FIFO_THRESHOLD_01DATA;
  hspi2.Init.TxCRCInitializationPattern = SPI_CRC_INITIALIZATION_ALL_ZERO_PATTERN;
  hspi2.Init.RxCRCInitializationPattern = SPI_CRC_INITIALIZATION_ALL_ZERO_PATTERN;
  hspi2.Init.MasterSSIdleness = SPI_MASTER_SS_IDLENESS_00CYCLE;
  hspi2.Init.MasterInterDataIdleness = SPI_MASTER_INTERDATA_IDLENESS_00CYCLE;
  hspi2.Init.MasterReceiverAutoSusp = SPI_MASTER_RX_AUTOSUSP_DISABLE;
  hspi2.Init.MasterKeepIOState = SPI_MASTER_KEEP_IO_STATE_DISABLE;
  hspi2.Init.IOSwap = SPI_IO_SWAP_DISABLE;
  if (HAL_SPI_Init(&hspi2) != HAL_OK)
  {
    Error_Handler();
  }

}

static void MX_SPI4_Init(void)
{

  /* SPI4 parameter configuration*/
  hspi4.Instance = SPI4;
  hspi4.Init.Mode = SPI_MODE_MASTER;
  hspi4.Init.Direction = SPI_DIRECTION_2LINES;
  hspi4.Init.DataSize = SPI_DATASIZE_4BIT;
  hspi4.Init.CLKPolarity = SPI_POLARITY_LOW;
  hspi4.Init.CLKPhase = SPI_PHASE_1EDGE;
  hspi4.Init.NSS = SPI_NSS_SOFT;
  hspi4.Init.BaudRatePrescaler = SPI_BAUDRATEPRESCALER_2;
  hspi4.Init.FirstBit = SPI_FIRSTBIT_MSB;
  hspi4.Init.TIMode = SPI_TIMODE_DISABLE;
  hspi4.Init.CRCCalculation = SPI_CRCCALCULATION_DISABLE;
  hspi4.Init.CRCPolynomial = 0x0;
  hspi4.Init.NSSPMode = SPI_NSS_PULSE_ENABLE;
  hspi4.Init.NSSPolarity = SPI_NSS_POLARITY_LOW;
  hspi4.Init.FifoThreshold = SPI_FIFO_THRESHOLD_01DATA;
  hspi4.Init.TxCRCInitializationPattern = SPI_CRC_INITIALIZATION_ALL_ZERO_PATTERN;
  hspi4.Init.RxCRCInitializationPattern = SPI_CRC_INITIALIZATION_ALL_ZERO_PATTERN;
  hspi4.Init.MasterSSIdleness = SPI_MASTER_SS_IDLENESS_00CYCLE;
  hspi4.Init.MasterInterDataIdleness = SPI_MASTER_INTERDATA_IDLENESS_00CYCLE;
  hspi4.Init.MasterReceiverAutoSusp = SPI_MASTER_RX_AUTOSUSP_DISABLE;
  hspi4.Init.MasterKeepIOState = SPI_MASTER_KEEP_IO_STATE_DISABLE;
  hspi4.Init.IOSwap = SPI_IO_SWAP_DISABLE;
  if (HAL_SPI_Init(&hspi4) != HAL_OK)
  {
    Error_Handler();
  }
  /* USER CODE BEGIN SPI4_Init 2 */
  /* CubeMX generates 4-bit/div2 — patch to 8-bit/div4 (8 MHz ≤ SCH16T max 10 MHz).
     SPE=0 here so CFG1 is writable without a DeInit/Init cycle. */
  MODIFY_REG(SPI4->CFG1,
             SPI_CFG1_DSIZE_Msk | SPI_CFG1_FTHLV_Msk | SPI_CFG1_MBR_Msk,
             (7U << SPI_CFG1_DSIZE_Pos) |   /* DSIZE=7 → 8-bit */
             (0U << SPI_CFG1_FTHLV_Pos) |   /* FTHLV=0 → 1-byte threshold */
             (1U << SPI_CFG1_MBR_Pos));      /* MBR=1 → APB2/4 = 8 MHz */
  hspi4.Init.DataSize          = SPI_DATASIZE_8BIT;
  hspi4.Init.BaudRatePrescaler = SPI_BAUDRATEPRESCALER_4;
  /* USER CODE END SPI4_Init 2 */

}

static void MX_UART7_Init(void)
{

  huart7.Instance = UART7;
  huart7.Init.BaudRate = 115200;
  huart7.Init.WordLength = UART_WORDLENGTH_8B;
  huart7.Init.StopBits = UART_STOPBITS_1;
  huart7.Init.Parity = UART_PARITY_NONE;
  huart7.Init.Mode = UART_MODE_TX_RX;
  huart7.Init.HwFlowCtl = UART_HWCONTROL_NONE;
  huart7.Init.OverSampling = UART_OVERSAMPLING_16;
  huart7.Init.OneBitSampling = UART_ONE_BIT_SAMPLE_DISABLE;
  huart7.Init.ClockPrescaler = UART_PRESCALER_DIV1;
  huart7.AdvancedInit.AdvFeatureInit = UART_ADVFEATURE_NO_INIT;
  if (HAL_UART_Init(&huart7) != HAL_OK)
  {
    Error_Handler();
  }
  if (HAL_UARTEx_SetTxFifoThreshold(&huart7, UART_TXFIFO_THRESHOLD_1_8) != HAL_OK)
  {
    Error_Handler();
  }
  if (HAL_UARTEx_SetRxFifoThreshold(&huart7, UART_RXFIFO_THRESHOLD_1_8) != HAL_OK)
  {
    Error_Handler();
  }
  if (HAL_UARTEx_DisableFifoMode(&huart7) != HAL_OK)
  {
    Error_Handler();
  }
  /* USER CODE BEGIN UART7_Init 2 */
  /* M10S defaults to 9600 — re-init at the correct rate.
     Board has GNSS TX/RX routed straight-through, so use the H7's
     internal pin swap: PE7 acts as TX, PE8 as RX. */
  huart7.Init.BaudRate = 9600;
  huart7.AdvancedInit.AdvFeatureInit = UART_ADVFEATURE_SWAP_INIT;
  huart7.AdvancedInit.Swap = UART_ADVFEATURE_SWAP_ENABLE;
  if (HAL_UART_Init(&huart7) != HAL_OK) { Error_Handler(); }
  /* USER CODE END UART7_Init 2 */

}

static void MX_GPIO_Init(void)
{
  GPIO_InitTypeDef GPIO_InitStruct = {0};

  /* GPIO Ports Clock Enable */
  __HAL_RCC_GPIOE_CLK_ENABLE();
  __HAL_RCC_GPIOC_CLK_ENABLE();
  __HAL_RCC_GPIOA_CLK_ENABLE();
  __HAL_RCC_GPIOB_CLK_ENABLE();
  __HAL_RCC_GPIOD_CLK_ENABLE();

  /*Configure GPIO pin Output Level */
  HAL_GPIO_WritePin(GPIOE, GPIO_PIN_3|GPIO_PIN_4, GPIO_PIN_RESET);

  /*Configure GPIO pin Output Level */
  HAL_GPIO_WritePin(GPIOC, FIRE_C_Pin|FIRE_D_Pin|LORA_NRESET_Pin, GPIO_PIN_RESET);

  /*Configure GPIO pin Output Level */
  HAL_GPIO_WritePin(GPIOB, GPIO_PIN_2|FLASH_CS_Pin, GPIO_PIN_RESET);

  /*Configure GPIO pin Output Level */
  HAL_GPIO_WritePin(FLASH_RESET_GPIO_Port, FLASH_RESET_Pin, GPIO_PIN_SET);

  /*Configure GPIO pins : PE3 PE4 */
  GPIO_InitStruct.Pin = GPIO_PIN_3|GPIO_PIN_4;
  GPIO_InitStruct.Mode = GPIO_MODE_OUTPUT_PP;
  GPIO_InitStruct.Pull = GPIO_NOPULL;
  GPIO_InitStruct.Speed = GPIO_SPEED_FREQ_LOW;
  HAL_GPIO_Init(GPIOE, &GPIO_InitStruct);

  /*Configure GPIO pins : FIRE_C_Pin FIRE_D_Pin LORA_NRESET_Pin */
  GPIO_InitStruct.Pin = FIRE_C_Pin|FIRE_D_Pin|LORA_NRESET_Pin;
  GPIO_InitStruct.Mode = GPIO_MODE_OUTPUT_PP;
  GPIO_InitStruct.Pull = GPIO_NOPULL;
  GPIO_InitStruct.Speed = GPIO_SPEED_FREQ_LOW;
  HAL_GPIO_Init(GPIOC, &GPIO_InitStruct);

  /*Configure GPIO pin : LORA_BUSY_Pin */
  GPIO_InitStruct.Pin = LORA_BUSY_Pin;
  GPIO_InitStruct.Mode = GPIO_MODE_INPUT;
  GPIO_InitStruct.Pull = GPIO_NOPULL;
  HAL_GPIO_Init(LORA_BUSY_GPIO_Port, &GPIO_InitStruct);

  /*Configure GPIO pins : PB2 FLASH_CS_Pin */
  GPIO_InitStruct.Pin = GPIO_PIN_2|FLASH_CS_Pin;
  GPIO_InitStruct.Mode = GPIO_MODE_OUTPUT_PP;
  GPIO_InitStruct.Pull = GPIO_NOPULL;
  GPIO_InitStruct.Speed = GPIO_SPEED_FREQ_LOW;
  HAL_GPIO_Init(GPIOB, &GPIO_InitStruct);

  /*Configure GPIO pin : FLASH_RESET_Pin */
  GPIO_InitStruct.Pin = FLASH_RESET_Pin;
  GPIO_InitStruct.Mode = GPIO_MODE_OUTPUT_PP;
  GPIO_InitStruct.Pull = GPIO_NOPULL;
  GPIO_InitStruct.Speed = GPIO_SPEED_FREQ_LOW;
  HAL_GPIO_Init(FLASH_RESET_GPIO_Port, &GPIO_InitStruct);

}

 /* MPU Configuration */

void MPU_Config(void)
{
  MPU_Region_InitTypeDef MPU_InitStruct = {0};

  /* Disables the MPU */
  HAL_MPU_Disable();

  /** Initializes and configures the Region and the memory to be protected
  */
  MPU_InitStruct.Enable = MPU_REGION_ENABLE;
  MPU_InitStruct.Number = MPU_REGION_NUMBER0;
  MPU_InitStruct.BaseAddress = 0x0;
  MPU_InitStruct.Size = MPU_REGION_SIZE_4GB;
  MPU_InitStruct.SubRegionDisable = 0x87;
  MPU_InitStruct.TypeExtField = MPU_TEX_LEVEL0;
  MPU_InitStruct.AccessPermission = MPU_REGION_NO_ACCESS;
  MPU_InitStruct.DisableExec = MPU_INSTRUCTION_ACCESS_DISABLE;
  MPU_InitStruct.IsShareable = MPU_ACCESS_SHAREABLE;
  MPU_InitStruct.IsCacheable = MPU_ACCESS_NOT_CACHEABLE;
  MPU_InitStruct.IsBufferable = MPU_ACCESS_NOT_BUFFERABLE;

  HAL_MPU_ConfigRegion(&MPU_InitStruct);
  /* Enables the MPU */
  HAL_MPU_Enable(MPU_PRIVILEGED_DEFAULT);

}

void Error_Handler(void)
{
  __disable_irq();
  while (1)
  {
  }
}
